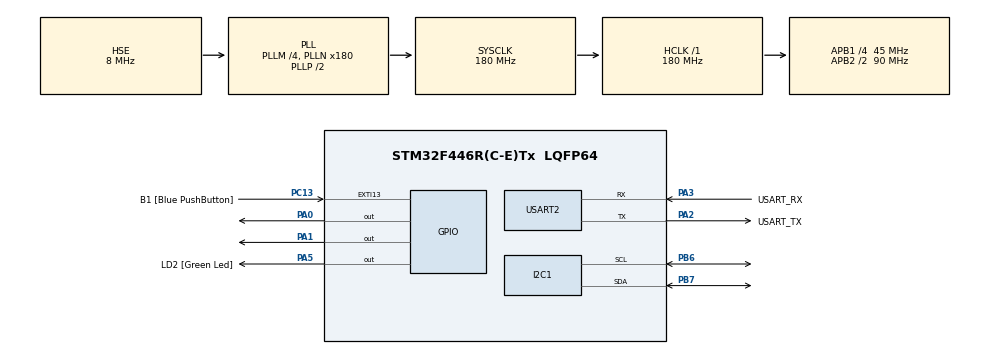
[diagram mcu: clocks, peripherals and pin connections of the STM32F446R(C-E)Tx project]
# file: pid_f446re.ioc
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I2C1.I2C_Mode=I2C_Fast
Mcu.Family=STM32F4
Mcu.Name=STM32F446R(C-E)Tx
Mcu.Package=LQFP64
NVIC.PriorityGroup=NVIC_PRIORITYGROUP_0
NVIC.TIM6_DAC_IRQn=true\:0\:0\:false\:false\:true\:true\:true\:true
PA0-WKUP.Signal=GPIO_Output
PA1.Signal=GPIO_Output
PA13.GPIO_Label=TMS
PA13.Mode=Serial_Wire
PA13.Signal=SYS_JTMS-SWDIO
PA14.GPIO_Label=TCK
PA14.Mode=Serial_Wire
PA14.Signal=SYS_JTCK-SWCLK
PA2.GPIO_Label=USART_TX
PA2.Mode=Asynchronous
PA2.Signal=USART2_TX
PA3.GPIO_Label=USART_RX
PA3.Mode=Asynchronous
PA3.Signal=USART2_RX
PA5.GPIO_Label=LD2 [Green Led]
PA5.Signal=GPIO_Output
PB3.GPIO_Label=SWO
PB3.Signal=SYS_JTDO-SWO
PB6.Mode=I2C
PB6.Signal=I2C1_SCL
PB7.Mode=I2C
PB7.Signal=I2C1_SDA
PC13.GPIO_Label=B1 [Blue PushButton]
PC13.GPIO_ModeDefaultEXTI=GPIO_MODE_IT_FALLING
PC13.Signal=GPXTI13
PC14-OSC32_IN.Signal=RCC_OSC32_IN
PC15-OSC32_OUT.Signal=RCC_OSC32_OUT
PH0-OSC_IN.Mode=HSE-External-Clock-Source
PH0-OSC_IN.Signal=RCC_OSC_IN
PH1-OSC_OUT.Mode=HSE-External-Clock-Source
PH1-OSC_OUT.Signal=RCC_OSC_OUT
ProjectManager.HeapSize=0x200
ProjectManager.StackSize=0x400
ProjectManager.TargetToolchain=STM32CubeIDE
RCC.AHBFreq_Value=180000000
RCC.APB1CLKDivider=RCC_HCLK_DIV4
RCC.APB1Freq_Value=45000000
RCC.APB1TimFreq_Value=90000000
RCC.APB2CLKDivider=RCC_HCLK_DIV2
RCC.APB2Freq_Value=90000000
RCC.APB2TimFreq_Value=180000000
RCC.CortexFreq_Value=180000000
RCC.FLatency-AdvancedSettings=FLASH_LATENCY_5
RCC.HCLKFreq_Value=180000000
RCC.HSE_VALUE=8000000
RCC.HSI_VALUE=16000000
RCC.LSE_VALUE=32768
RCC.PLLM=4
RCC.PLLN=180
RCC.PLLSourceVirtual=RCC_PLLSOURCE_HSE
RCC.SYSCLKFreq_VALUE=180000000
RCC.SYSCLKSource=RCC_SYSCLKSOURCE_PLLCLK
RCC.USBFreq_Value=180000000
RCC.VCOOutputFreq_Value=360000000
TIM6.AutoReloadPreload=TIM_AUTORELOAD_PRELOAD_ENABLE
TIM6.Period=299
TIM6.Prescaler=99
USART2.VirtualMode=VM_ASYNC
VP_TIM6_VS_ClockSourceINT.Mode=Enable_Timer
board=NUCLEO-F446RE

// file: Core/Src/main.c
/* USER CODE BEGIN Header */
/**
  ******************************************************************************
  * @file           : main.c
  * @brief          : Main program body
  ******************************************************************************
  * @attention
  *
  * Copyright (c) 2026 STMicroelectronics.
  * All rights reserved.
  *
  * This software is licensed under terms that can be found in the LICENSE file
  * in the root directory of this software component.
  * If no LICENSE file comes with this software, it is provided AS-IS.
  *
  ******************************************************************************
  */
/* USER CODE END Header */
#include "../Inc/main.h"

/* USER CODE BEGIN Includes */
#include "vl53l0x_api.h"
#include <stdio.h>
#include <string.h>
/* USER CODE END Includes */

I2C_HandleTypeDef hi2c1;

TIM_HandleTypeDef htim6;

UART_HandleTypeDef huart2;

/* USER CODE BEGIN PV */
#define VL53L0X_ADDR (0x29 << 1) // default I2C address left-shifted for HAL

static VL53L0X_Dev_t                    vl53_dev;
static VL53L0X_RangingMeasurementData_t range_data;

// SMC Variables
double setpoint = 150.0; // Setpoint in mm
double smc_K = -7.0071;
double smc_c = 3.0;
double smc_M = 5.0;
double smc_Phi = 0.05;

// Adaptive SMC Parameters
double a_hat = 0;        // Estimate of 1/K (initialized to approx 1 / -7.0071)
double Gamma = 0.05;          // Reduced significantly to prevent explosion
double sigma_mod = 0.5;       // Increased to strongly drag it towards 0 when not adapting
double A_MIN = -3.0;          // Lower bound for a_hat
double A_MAX = +1.01;         // Upper bound for a_hat (since K is negative, 1/K must strictly be negative)

const double errorDeadband = 10.0; // mm
const int stepDeadband = 0;

double previousError = 0.0;
double currentDistance = 0.0;

// Motor state variables
volatile int currentStep = 61 * 16;
volatile int targetStep = 61 * 16;
volatile int stepsRemaining = 0;
volatile int motorDirection = 0; // 0 = LOW, 1 = HIGH
volatile uint8_t stepPinState = 0;

// Timing variables
volatile uint8_t pid_flag_20ms = 0;
volatile uint32_t ms_tick_count = 0;
/* USER CODE END PV */

void SystemClock_Config(void);
static void MX_GPIO_Init(void);
static void MX_I2C1_Init(void);
static void MX_TIM6_Init(void);
static void MX_USART2_UART_Init(void);

/* USER CODE BEGIN 0 */
// Blocking function to move the stepper for initialization
void moveStepper_Blocking(int numOfSteps, uint8_t direction) {
    // Set Direction
    HAL_GPIO_WritePin(GPIOA, GPIO_PIN_1, (direction) ? GPIO_PIN_SET : GPIO_PIN_RESET);

    for (int i = 0; i < numOfSteps; i++) {
        HAL_GPIO_WritePin(GPIOA, GPIO_PIN_0, GPIO_PIN_SET);

        // Blocking delay (approximate delay using a loop since HAL_Delay is ms only)
        // 1250/16 approx 78 microseconds. Since clock is 180MHz, a simple wait loop is needed
        for (volatile int j = 0; j < 3000; j++);

        HAL_GPIO_WritePin(GPIOA, GPIO_PIN_0, GPIO_PIN_RESET);

        for (volatile int j = 0; j < 3000; j++);
    }
}

VL53L0X_Error VL53L0X_i2c_init(void)
{
    return VL53L0X_ERROR_NONE; /* I2C already init by CubeMX */
}

VL53L0X_Error VL53L0X_WriteMulti(VL53L0X_DEV Dev, uint8_t index, uint8_t *pdata, uint32_t count)
{
    if (HAL_I2C_Mem_Write(&hi2c1, Dev->I2cDevAddr, index, I2C_MEMADD_SIZE_8BIT, pdata, count, 100) == HAL_OK)
        return VL53L0X_ERROR_NONE;
    return VL53L0X_ERROR_CONTROL_INTERFACE;
}

VL53L0X_Error VL53L0X_ReadMulti(VL53L0X_DEV Dev, uint8_t index, uint8_t *pdata, uint32_t count)
{
    if (HAL_I2C_Mem_Read(&hi2c1, Dev->I2cDevAddr, index, I2C_MEMADD_SIZE_8BIT, pdata, count, 100) == HAL_OK)
        return VL53L0X_ERROR_NONE;
    return VL53L0X_ERROR_CONTROL_INTERFACE;
}

VL53L0X_Error VL53L0X_WrByte(VL53L0X_DEV Dev, uint8_t index, uint8_t data)
{
    return VL53L0X_WriteMulti(Dev, index, &data, 1);
}

VL53L0X_Error VL53L0X_RdByte(VL53L0X_DEV Dev, uint8_t index, uint8_t *data)
{
    return VL53L0X_ReadMulti(Dev, index, data, 1);
}

VL53L0X_Error VL53L0X_WrWord(VL53L0X_DEV Dev, uint8_t index, uint16_t data)
{
    uint8_t buf[2] = {(uint8_t)(data >> 8), (uint8_t)(data & 0xFF)};
    return VL53L0X_WriteMulti(Dev, index, buf, 2);
}

VL53L0X_Error VL53L0X_RdWord(VL53L0X_DEV Dev, uint8_t index, uint16_t *data)
{
    uint8_t buf[2];
    VL53L0X_Error err = VL53L0X_ReadMulti(Dev, index, buf, 2);
    *data = ((uint16_t)buf[0] << 8) | buf[1];
    return err;
}

VL53L0X_Error VL53L0X_WrDWord(VL53L0X_DEV Dev, uint8_t index, uint32_t data)
{
    uint8_t buf[4] = {
        (uint8_t)(data >> 24), (uint8_t)(data >> 16),
        (uint8_t)(data >>  8), (uint8_t)(data)
    };
    return VL53L0X_WriteMulti(Dev, index, buf, 4);
}

VL53L0X_Error VL53L0X_RdDWord(VL53L0X_DEV Dev, uint8_t index, uint32_t *data)
{
    uint8_t buf[4];
    VL53L0X_Error err = VL53L0X_ReadMulti(Dev, index, buf, 4);
    *data = ((uint32_t)buf[0] << 24) | ((uint32_t)buf[1] << 16) |
            ((uint32_t)buf[2] <<  8) |  (uint32_t)buf[3];
    return err;
}

VL53L0X_Error VL53L0X_UpdateByte(VL53L0X_DEV Dev, uint8_t index, uint8_t AndData, uint8_t OrData)
{
    VL53L0X_Error Status = VL53L0X_ERROR_NONE;
    uint8_t data;

    Status = VL53L0X_RdByte(Dev, index, &data);
    if (Status != VL53L0X_ERROR_NONE) {
        return Status;
    }
    data = (data & AndData) | OrData;
    Status = VL53L0X_WrByte(Dev, index, data);
    return Status;
}

VL53L0X_Error VL53L0X_PollingDelay(VL53L0X_DEV Dev)
{
    HAL_Delay(5);
    return VL53L0X_ERROR_NONE;
}

static void VL53L0X_Init(void)
{
    uint32_t refSpadCount;
    uint8_t  isApertureSpads;
    uint8_t  VhvSettings, PhaseCal;

    vl53_dev.I2cDevAddr      = 0x52;  /* 8-bit address (7-bit 0x29 << 1) */
    vl53_dev.comms_type      = 1;     /* I2C */
    vl53_dev.comms_speed_khz = 400;

    VL53L0X_DataInit(&vl53_dev);
    VL53L0X_StaticInit(&vl53_dev);
    VL53L0X_PerformRefCalibration(&vl53_dev, &VhvSettings, &PhaseCal);
    VL53L0X_PerformRefSpadManagement(&vl53_dev, &refSpadCount, &isApertureSpads);
    VL53L0X_SetDeviceMode(&vl53_dev, VL53L0X_DEVICEMODE_SINGLE_RANGING);

    /* Measurement quality limits */
    VL53L0X_SetLimitCheckEnable(&vl53_dev, VL53L0X_CHECKENABLE_SIGMA_FINAL_RANGE, 1);
    VL53L0X_SetLimitCheckEnable(&vl53_dev, VL53L0X_CHECKENABLE_SIGNAL_RATE_FINAL_RANGE, 1);
    VL53L0X_SetLimitCheckValue(&vl53_dev, VL53L0X_CHECKENABLE_SIGNAL_RATE_FINAL_RANGE, (FixPoint1616_t)(0.1 * 65536));
    VL53L0X_SetLimitCheckValue(&vl53_dev, VL53L0X_CHECKENABLE_SIGMA_FINAL_RANGE, (FixPoint1616_t)(60 * 65536));
    VL53L0X_SetMeasurementTimingBudgetMicroSeconds(&vl53_dev, 15000);
}

// Intercept SysTick for 20ms PID loop timing
void HAL_SYSTICK_Callback(void) {
    ms_tick_count++;
    if (ms_tick_count >= 20) {
        ms_tick_count = 0;
        pid_flag_20ms = 1;
    }
}

// Timer interrupt for non-blocking motor step generation
void Motor_Step_Handler(void) {
    if (stepsRemaining > 0) {
        if (stepPinState == 0) {
            // Set DIR pin and HIGH on STEP pin
            HAL_GPIO_WritePin(GPIOA, GPIO_PIN_1, (motorDirection) ? GPIO_PIN_SET : GPIO_PIN_RESET);
            HAL_GPIO_WritePin(GPIOA, GPIO_PIN_0, GPIO_PIN_SET);
            stepPinState = 1;
        } else {
            // LOW on STEP pin
            HAL_GPIO_WritePin(GPIOA, GPIO_PIN_0, GPIO_PIN_RESET);
            stepPinState = 0;
            stepsRemaining--;
            if (motorDirection == 0) currentStep++; else currentStep--;
        }
    }
}
/* USER CODE END 0 */

int main(void)
{

  /* MCU Configuration--------------------------------------------------------*/

  /* Reset of all peripherals, Initializes the Flash interface and the Systick. */
  HAL_Init();

  /* Configure the system clock */
  SystemClock_Config();

  /* Initialize all configured peripherals */
  MX_GPIO_Init();
  MX_I2C1_Init();
  MX_TIM6_Init();
  MX_USART2_UART_Init();
  /* USER CODE BEGIN 2 */
  // Move stepper to initial horizontal position (61 * 16 steps)
  // GPIO_PIN_SET (1) represents HIGH in Arduino code
  moveStepper_Blocking(61 * 16, 1);
  HAL_Delay(1000); // 3 second wait before starting regulation

  // Start the motor timer in interrupt mode
  HAL_TIM_Base_Start_IT(&htim6);

  // Initialize VL53L0X
  VL53L0X_Init();
  /* USER CODE END 2 */

  /* Infinite loop */
  /* USER CODE BEGIN WHILE */
  while (1)
  {
    // Execute PID loop every 20ms
    if (pid_flag_20ms == 1) {
        pid_flag_20ms = 0; // Clear flag

        double dt = 0.020; // 20ms time step

        // 1. Read Sensor
        VL53L0X_PerformSingleRangingMeasurement(&vl53_dev, &range_data);

        // RangeStatus = 0 means valid measurement
        if (range_data.RangeStatus == 0 && range_data.RangeMilliMeter > 0 && range_data.RangeMilliMeter < 2000) {
            currentDistance = (double)range_data.RangeMilliMeter;

            // ── 2. Compute Adaptive SMC ────────────────────────────────────────────

            // Position error (metres)
            double x  = currentDistance / 1000.0;
            double xd = setpoint        / 1000.0;
            double error = xd - x;

            // Deadband (metres)
            if (error > -errorDeadband / 1000.0 && error < errorDeadband / 1000.0)
                error = 0.0;

            // Error derivative
            double de = (error - previousError) / dt;

            // ── Sliding surface  s = λ·e + ė ──────────────────────────────────────
            double s = smc_c * error + de;

            // ── Saturation (anti-chattering) ───────────────────────────────────────
            double s_phi = s / smc_Phi;
            double sat   = s_phi >  1.0 ?  1.0 :
                           s_phi < -1.0 ? -1.0 : s_phi;

            // ── Regressor v = −λ·ė − M·sat(s/Φ) ──────────────────────────────────
            double v = -smc_c * de - smc_M * sat;

            // ── Adaptive control output (radians) ─────────────────────────────────
            // With a negative gain true system (K < 0), we want u = a_hat * v.
            // Notice how a_hat starts negative, and v opposes de & sat.
            double u = a_hat * v;

            // ── Parameter update law (Euler integration) ──────────────────────────
            // Since the system has a negative sign implicitly inside its dynamic:
            // a_hat_dot = -(Gamma) * s * v - sigma * a_hat   <-- That drives it to right direction
            double a_hat_dot = -Gamma * s * v   -   sigma_mod * a_hat;
            a_hat += a_hat_dot * dt;

            // ── Projection: keep â in physically meaningful range ──────────────────
            // Keep a_hat strictly negative to represent 1/K
            if (a_hat < A_MIN) a_hat = A_MIN;
            // Limit closer to 0 but strictly negative.
            if (a_hat > A_MAX) a_hat = A_MAX;

            // ── Convert α (radians) → motor steps ─────────────────────────────────
            // Adding a sign flip to output conversion step since the hardware moves
            // backwards compared to the mathematical model of error  xd - x
            double output = -u * (1600.0 / 3.1415926535);

            // Constrain
            if (output >  39.0 * 16.0) output =  39.0 * 16.0;
            if (output < -61.0 * 16.0) output = -61.0 * 16.0;

            targetStep = (61 * 16) + (int)output;
            __disable_irq(); // Protect shared variables
            int cs = currentStep;
            __enable_irq();
            int stepsDiff = targetStep - cs;

            // ── Command motor ──────────────────────────────────────────────────────
            if (stepsDiff > stepDeadband || stepsDiff < -stepDeadband) {
                __disable_irq(); // Protect shared variables
                stepsRemaining = 0;
                motorDirection = (stepsDiff > 0) ? 0 : 1;
                stepsRemaining = (stepsDiff > 0) ? stepsDiff : -stepsDiff;
                __enable_irq();
            }

            previousError = error;

            // ── Print variables for adaptation monitoring ───────────────────────
            char debug_buffer[128];
            // Multiply by 1000 since printf float support may be disabled
            snprintf(debug_buffer, sizeof(debug_buffer), "e:%d s:%d v:%d a^:%d u:%d steps:%d de:%d\r\n",
                     (int)(error * 1000), (int)(s * 1000), (int)(v * 1000),
                     (int)(a_hat * 100000), (int)(u * 1000), stepsDiff, (int)(de * 1000));
            HAL_UART_Transmit(&huart2, (uint8_t*)debug_buffer, strlen(debug_buffer), 100);
        }
    }
    /* USER CODE END WHILE */

  }
}

void SystemClock_Config(void)
{
  RCC_OscInitTypeDef RCC_OscInitStruct = {0};
  RCC_ClkInitTypeDef RCC_ClkInitStruct = {0};

  /** Configure the main internal regulator output voltage
  */
  __HAL_RCC_PWR_CLK_ENABLE();
  __HAL_PWR_VOLTAGESCALING_CONFIG(PWR_REGULATOR_VOLTAGE_SCALE1);

  /** Initializes the RCC Oscillators according to the specified parameters
  * in the RCC_OscInitTypeDef structure.
  */
  RCC_OscInitStruct.OscillatorType = RCC_OSCILLATORTYPE_HSE;
  RCC_OscInitStruct.HSEState = RCC_HSE_BYPASS;
  RCC_OscInitStruct.PLL.PLLState = RCC_PLL_ON;
  RCC_OscInitStruct.PLL.PLLSource = RCC_PLLSOURCE_HSE;
  RCC_OscInitStruct.PLL.PLLM = 4;
  RCC_OscInitStruct.PLL.PLLN = 180;
  RCC_OscInitStruct.PLL.PLLP = RCC_PLLP_DIV2;
  RCC_OscInitStruct.PLL.PLLQ = 2;
  RCC_OscInitStruct.PLL.PLLR = 2;
  if (HAL_RCC_OscConfig(&RCC_OscInitStruct) != HAL_OK)
  {
    Error_Handler();
  }

  /** Activate the Over-Drive mode
  */
  if (HAL_PWREx_EnableOverDrive() != HAL_OK)
  {
    Error_Handler();
  }

  /** Initializes the CPU, AHB and APB buses clocks
  */
  RCC_ClkInitStruct.ClockType = RCC_CLOCKTYPE_HCLK|RCC_CLOCKTYPE_SYSCLK
                              |RCC_CLOCKTYPE_PCLK1|RCC_CLOCKTYPE_PCLK2;
  RCC_ClkInitStruct.SYSCLKSource = RCC_SYSCLKSOURCE_PLLCLK;
  RCC_ClkInitStruct.AHBCLKDivider = RCC_SYSCLK_DIV1;
  RCC_ClkInitStruct.APB1CLKDivider = RCC_HCLK_DIV4;
  RCC_ClkInitStruct.APB2CLKDivider = RCC_HCLK_DIV2;

  if (HAL_RCC_ClockConfig(&RCC_ClkInitStruct, FLASH_LATENCY_5) != HAL_OK)
  {
    Error_Handler();
  }
}

static void MX_I2C1_Init(void)
{

  hi2c1.Instance = I2C1;
  hi2c1.Init.ClockSpeed = 400000;
  hi2c1.Init.DutyCycle = I2C_DUTYCYCLE_2;
  hi2c1.Init.OwnAddress1 = 0;
  hi2c1.Init.AddressingMode = I2C_ADDRESSINGMODE_7BIT;
  hi2c1.Init.DualAddressMode = I2C_DUALADDRESS_DISABLE;
  hi2c1.Init.OwnAddress2 = 0;
  hi2c1.Init.GeneralCallMode = I2C_GENERALCALL_DISABLE;
  hi2c1.Init.NoStretchMode = I2C_NOSTRETCH_DISABLE;
  if (HAL_I2C_Init(&hi2c1) != HAL_OK)
  {
    Error_Handler();
  }

}

static void MX_TIM6_Init(void)
{

  TIM_MasterConfigTypeDef sMasterConfig = {0};

  htim6.Instance = TIM6;
  htim6.Init.Prescaler = 99;
  htim6.Init.CounterMode = TIM_COUNTERMODE_UP;
  htim6.Init.Period = 299;
  htim6.Init.AutoReloadPreload = TIM_AUTORELOAD_PRELOAD_ENABLE;
  if (HAL_TIM_Base_Init(&htim6) != HAL_OK)
  {
    Error_Handler();
  }
  sMasterConfig.MasterOutputTrigger = TIM_TRGO_RESET;
  sMasterConfig.MasterSlaveMode = TIM_MASTERSLAVEMODE_DISABLE;
  if (HAL_TIMEx_MasterConfigSynchronization(&htim6, &sMasterConfig) != HAL_OK)
  {
    Error_Handler();
  }

}

static void MX_USART2_UART_Init(void)
{

  huart2.Instance = USART2;
  huart2.Init.BaudRate = 115200;
  huart2.Init.WordLength = UART_WORDLENGTH_8B;
  huart2.Init.StopBits = UART_STOPBITS_1;
  huart2.Init.Parity = UART_PARITY_NONE;
  huart2.Init.Mode = UART_MODE_TX_RX;
  huart2.Init.HwFlowCtl = UART_HWCONTROL_NONE;
  huart2.Init.OverSampling = UART_OVERSAMPLING_16;
  if (HAL_UART_Init(&huart2) != HAL_OK)
  {
    Error_Handler();
  }

}

static void MX_GPIO_Init(void)
{
  GPIO_InitTypeDef GPIO_InitStruct = {0};

  /* GPIO Ports Clock Enable */
  __HAL_RCC_GPIOC_CLK_ENABLE();
  __HAL_RCC_GPIOH_CLK_ENABLE();
  __HAL_RCC_GPIOA_CLK_ENABLE();
  __HAL_RCC_GPIOB_CLK_ENABLE();

  /*Configure GPIO pin Output Level */
  HAL_GPIO_WritePin(GPIOA, GPIO_PIN_0|GPIO_PIN_1|LD2_Pin, GPIO_PIN_RESET);

  /*Configure GPIO pin : B1_Pin */
  GPIO_InitStruct.Pin = B1_Pin;
  GPIO_InitStruct.Mode = GPIO_MODE_IT_FALLING;
  GPIO_InitStruct.Pull = GPIO_NOPULL;
  HAL_GPIO_Init(B1_GPIO_Port, &GPIO_InitStruct);

  /*Configure GPIO pins : PA0 PA1 LD2_Pin */
  GPIO_InitStruct.Pin = GPIO_PIN_0|GPIO_PIN_1|LD2_Pin;
  GPIO_InitStruct.Mode = GPIO_MODE_OUTPUT_PP;
  GPIO_InitStruct.Pull = GPIO_NOPULL;
  GPIO_InitStruct.Speed = GPIO_SPEED_FREQ_LOW;
  HAL_GPIO_Init(GPIOA, &GPIO_InitStruct);

}

/* USER CODE BEGIN 4 */
void HAL_TIM_PeriodElapsedCallback(TIM_HandleTypeDef *htim)
{
    // Check if the interrupt came from TIM6 (our motor timer)
    if (htim->Instance == TIM6) {
        Motor_Step_Handler(); // Send the pulse to the tb6560
    }
}
/* USER CODE END 4 */

void Error_Handler(void)
{
  __disable_irq();
  while (1)
  {
  }
}
